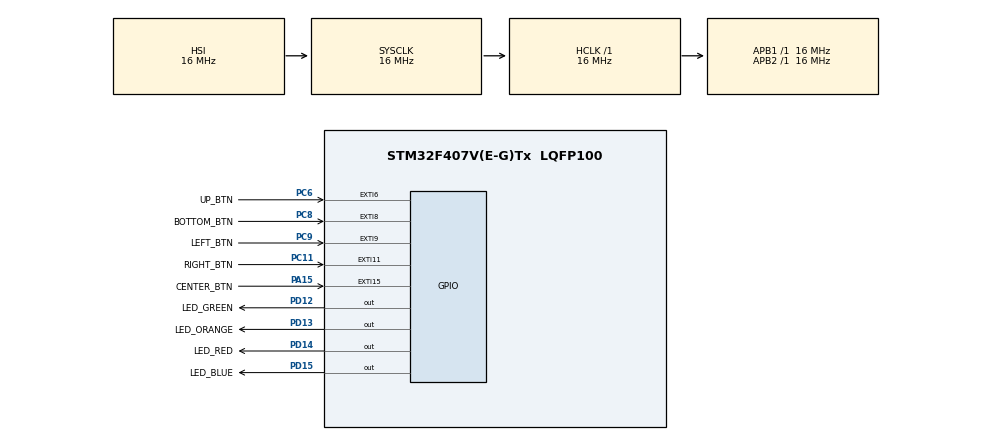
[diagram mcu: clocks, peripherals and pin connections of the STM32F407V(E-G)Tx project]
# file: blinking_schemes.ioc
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Mcu.Family=STM32F4
Mcu.Name=STM32F407V(E-G)Tx
Mcu.Package=LQFP100
NVIC.EXTI15_10_IRQn=true\:0\:0\:false\:false\:true\:true\:true\:true
NVIC.EXTI9_5_IRQn=true\:0\:0\:false\:false\:true\:true\:true\:true
NVIC.PriorityGroup=NVIC_PRIORITYGROUP_4
PA15.GPIO_Label=CENTER_BTN
PA15.GPIO_ModeDefaultEXTI=GPIO_MODE_IT_FALLING
PA15.Signal=GPXTI15
PC11.GPIO_Label=RIGHT_BTN
PC11.GPIO_ModeDefaultEXTI=GPIO_MODE_IT_FALLING
PC11.Signal=GPXTI11
PC6.GPIO_Label=UP_BTN
PC6.GPIO_ModeDefaultEXTI=GPIO_MODE_IT_FALLING
PC6.Signal=GPXTI6
PC8.GPIO_Label=BOTTOM_BTN
PC8.GPIO_ModeDefaultEXTI=GPIO_MODE_IT_FALLING
PC8.Signal=GPXTI8
PC9.GPIO_Label=LEFT_BTN
PC9.GPIO_ModeDefaultEXTI=GPIO_MODE_IT_FALLING
PC9.Signal=GPXTI9
PD12.GPIO_Label=LED_GREEN
PD12.Signal=GPIO_Output
PD13.GPIO_Label=LED_ORANGE
PD13.Signal=GPIO_Output
PD14.GPIO_Label=LED_RED
PD14.Signal=GPIO_Output
PD15.GPIO_Label=LED_BLUE
PD15.Signal=GPIO_Output
ProjectManager.HeapSize=0x200
ProjectManager.StackSize=0x400
ProjectManager.TargetToolchain=STM32CubeIDE
RCC.AHBFreq_Value=16000000
RCC.APB1Freq_Value=16000000
RCC.APB2Freq_Value=16000000
RCC.CortexFreq_Value=16000000
RCC.HSE_VALUE=25000000
RCC.HSI_VALUE=16000000
RCC.LSE_VALUE=32768
RCC.SYSCLKFreq_VALUE=16000000
RCC.VCOOutputFreq_Value=192000000
board=custom

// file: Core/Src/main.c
/* USER CODE BEGIN Header */
/**
  ******************************************************************************
  * @file           : main.c
  * @brief          : Main program body
  ******************************************************************************
  * @attention
  *
  * Copyright (c) 2023 STMicroelectronics.
  * All rights reserved.
  *
  * This software is licensed under terms that can be found in the LICENSE file
  * in the root directory of this software component.
  * If no LICENSE file comes with this software, it is provided AS-IS.
  *
  ******************************************************************************
  */
/* USER CODE END Header */
#include "main.h"
#include "stm32f4xx_it.h"
/* USER CODE BEGIN Includes */
int blink = 0;
int mode = 0;
uint16_t del = 100;
/* USER CODE END Includes */

/* USER CODE BEGIN PTD */
void round();
void divRound();
void doublePin();
/* USER CODE END PTD */

void SystemClock_Config(void);
static void MX_GPIO_Init(void);

int main(void)
{

  /* MCU Configuration--------------------------------------------------------*/

  /* Reset of all peripherals, Initializes the Flash interface and the Systick. */
  HAL_Init();

  /* Configure the system clock */
  SystemClock_Config();

  /* Initialize all configured peripherals */
  MX_GPIO_Init();

  /* Infinite loop */
  /* USER CODE BEGIN WHILE */

  while (1)
  {
	if(blink){
		switch(mode){
			case 0:
				round();
				break;
			case 1:
				divRound();
				break;
			case 2:
				doublePin();
				break;
		}
	}
	else{
		HAL_GPIO_WritePin(GPIOD, GPIO_PIN_12,GPIO_PIN_RESET);
		HAL_GPIO_WritePin(GPIOD, GPIO_PIN_13,GPIO_PIN_RESET);
		HAL_GPIO_WritePin(GPIOD, GPIO_PIN_14,GPIO_PIN_RESET);
		HAL_GPIO_WritePin(GPIOD, GPIO_PIN_15,GPIO_PIN_RESET);
	}
    /* USER CODE END WHILE */

  }
}

void SystemClock_Config(void)
{
  RCC_OscInitTypeDef RCC_OscInitStruct = {0};
  RCC_ClkInitTypeDef RCC_ClkInitStruct = {0};

  /** Configure the main internal regulator output voltage
  */
  __HAL_RCC_PWR_CLK_ENABLE();
  __HAL_PWR_VOLTAGESCALING_CONFIG(PWR_REGULATOR_VOLTAGE_SCALE1);

  /** Initializes the RCC Oscillators according to the specified parameters
  * in the RCC_OscInitTypeDef structure.
  */
  RCC_OscInitStruct.OscillatorType = RCC_OSCILLATORTYPE_HSI;
  RCC_OscInitStruct.HSIState = RCC_HSI_ON;
  RCC_OscInitStruct.HSICalibrationValue = RCC_HSICALIBRATION_DEFAULT;
  RCC_OscInitStruct.PLL.PLLState = RCC_PLL_NONE;
  if (HAL_RCC_OscConfig(&RCC_OscInitStruct) != HAL_OK)
  {
    Error_Handler();
  }

  /** Initializes the CPU, AHB and APB buses clocks
  */
  RCC_ClkInitStruct.ClockType = RCC_CLOCKTYPE_HCLK|RCC_CLOCKTYPE_SYSCLK
                              |RCC_CLOCKTYPE_PCLK1|RCC_CLOCKTYPE_PCLK2;
  RCC_ClkInitStruct.SYSCLKSource = RCC_SYSCLKSOURCE_HSI;
  RCC_ClkInitStruct.AHBCLKDivider = RCC_SYSCLK_DIV1;
  RCC_ClkInitStruct.APB1CLKDivider = RCC_HCLK_DIV1;
  RCC_ClkInitStruct.APB2CLKDivider = RCC_HCLK_DIV1;

  if (HAL_RCC_ClockConfig(&RCC_ClkInitStruct, FLASH_LATENCY_0) != HAL_OK)
  {
    Error_Handler();
  }
}

static void MX_GPIO_Init(void)
{
  GPIO_InitTypeDef GPIO_InitStruct = {0};

  /* GPIO Ports Clock Enable */
  __HAL_RCC_GPIOD_CLK_ENABLE();
  __HAL_RCC_GPIOC_CLK_ENABLE();
  __HAL_RCC_GPIOA_CLK_ENABLE();

  /*Configure GPIO pin Output Level */
  HAL_GPIO_WritePin(GPIOD, LED_GREEN_Pin|LED_ORANGE_Pin|LED_RED_Pin|LED_BLUE_Pin, GPIO_PIN_RESET);

  /*Configure GPIO pins : LED_GREEN_Pin LED_ORANGE_Pin LED_RED_Pin LED_BLUE_Pin */
  GPIO_InitStruct.Pin = LED_GREEN_Pin|LED_ORANGE_Pin|LED_RED_Pin|LED_BLUE_Pin;
  GPIO_InitStruct.Mode = GPIO_MODE_OUTPUT_PP;
  GPIO_InitStruct.Pull = GPIO_NOPULL;
  GPIO_InitStruct.Speed = GPIO_SPEED_FREQ_LOW;
  HAL_GPIO_Init(GPIOD, &GPIO_InitStruct);

  /*Configure GPIO pins : UP_BTN_Pin BOTTOM_BTN_Pin LEFT_BTN_Pin RIGHT_BTN_Pin */
  GPIO_InitStruct.Pin = UP_BTN_Pin|BOTTOM_BTN_Pin|LEFT_BTN_Pin|RIGHT_BTN_Pin;
  GPIO_InitStruct.Mode = GPIO_MODE_IT_FALLING;
  GPIO_InitStruct.Pull = GPIO_NOPULL;
  HAL_GPIO_Init(GPIOC, &GPIO_InitStruct);

  /*Configure GPIO pin : CENTER_BTN_Pin */
  GPIO_InitStruct.Pin = CENTER_BTN_Pin;
  GPIO_InitStruct.Mode = GPIO_MODE_IT_FALLING;
  GPIO_InitStruct.Pull = GPIO_NOPULL;
  HAL_GPIO_Init(CENTER_BTN_GPIO_Port, &GPIO_InitStruct);

  /* EXTI interrupt init*/
  HAL_NVIC_SetPriority(EXTI9_5_IRQn, 0, 0);
  HAL_NVIC_EnableIRQ(EXTI9_5_IRQn);

  HAL_NVIC_SetPriority(EXTI15_10_IRQn, 0, 0);
  HAL_NVIC_EnableIRQ(EXTI15_10_IRQn);

}

/* USER CODE BEGIN 4 */
void round(void){
	HAL_GPIO_WritePin(GPIOD, GPIO_PIN_15, SET);
	HAL_Delay(del);
	HAL_GPIO_WritePin(GPIOD, GPIO_PIN_15, RESET);
	HAL_GPIO_WritePin(GPIOD, GPIO_PIN_14, SET);
	HAL_Delay(del);
	HAL_GPIO_WritePin(GPIOD, GPIO_PIN_14, RESET);
	HAL_GPIO_WritePin(GPIOD, GPIO_PIN_13, SET);
	HAL_Delay(del);
	HAL_GPIO_WritePin(GPIOD, GPIO_PIN_13, RESET);
	HAL_GPIO_WritePin(GPIOD, GPIO_PIN_12, SET);
	HAL_Delay(del);
	HAL_GPIO_WritePin(GPIOD, GPIO_PIN_12, RESET);
}

void divRound(void){
	HAL_GPIO_WritePin(GPIOD, GPIO_PIN_12, SET);
	HAL_Delay(del);
	HAL_GPIO_WritePin(GPIOD, GPIO_PIN_12, RESET);
	HAL_GPIO_WritePin(GPIOD, GPIO_PIN_13, SET);
	HAL_Delay(del);
	HAL_GPIO_WritePin(GPIOD, GPIO_PIN_13, RESET);
	HAL_GPIO_WritePin(GPIOD, GPIO_PIN_14, SET);
	HAL_Delay(del);
	HAL_GPIO_WritePin(GPIOD, GPIO_PIN_14, RESET);
	HAL_GPIO_WritePin(GPIOD, GPIO_PIN_15, SET);
	HAL_Delay(del);
	HAL_GPIO_WritePin(GPIOD, GPIO_PIN_15, RESET);
}
void doublePin(void){
	HAL_GPIO_WritePin(GPIOD, GPIO_PIN_12, SET);
	HAL_GPIO_WritePin(GPIOD, GPIO_PIN_14, SET);
	HAL_GPIO_WritePin(GPIOD, GPIO_PIN_13, RESET);
	HAL_GPIO_WritePin(GPIOD, GPIO_PIN_15, RESET);
	HAL_Delay(del);
	HAL_GPIO_WritePin(GPIOD, GPIO_PIN_13, SET);
	HAL_GPIO_WritePin(GPIOD, GPIO_PIN_15, SET);
	HAL_GPIO_WritePin(GPIOD, GPIO_PIN_12, RESET);
	HAL_GPIO_WritePin(GPIOD, GPIO_PIN_14, RESET);
	HAL_Delay(del);
}
/* USER CODE END 4 */

void Error_Handler(void)
{
  __disable_irq();
  while (1)
  {
  }
}
